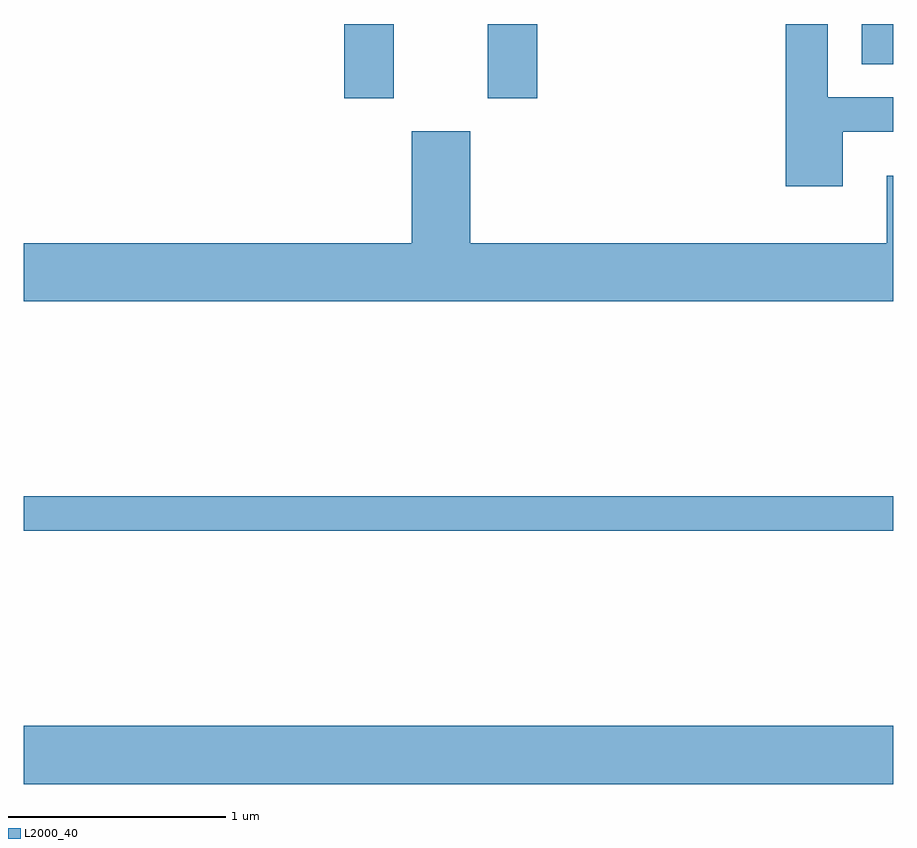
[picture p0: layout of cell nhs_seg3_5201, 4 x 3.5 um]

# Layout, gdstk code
import gdstk
lib = gdstk.Library(unit=1e-6, precision=1e-09)
def R(c, l, rs):  # rectangles x0, y0, x1, y1
    for r in rs: c.add(gdstk.rectangle(r[:2], r[2:], *l))
def P(c, l, *ps):  # polygons
    for p in ps: c.add(gdstk.Polygon(p, *l))
L2000_40 = (2000, 40)

nhs_seg3_5201 = lib.new_cell('nhs_seg3_5201')
R(nhs_seg3_5201, L2000_40, [(337.611,1190.396,341.611,1190.664), (337.611,1191.561,341.611,1191.719), (339.086,1193.551,339.314,1193.892), (339.746,1193.551,339.974,1193.892), (341.466,1193.706,341.611,1193.892)])
P(nhs_seg3_5201, L2000_40, [(341.379,1193.396),(341.611,1193.396),(341.611,1193.554),(341.309,1193.554),(341.309,1193.892),(341.116,1193.892),(341.116,1193.146),(341.379,1193.146)],
  [(341.611,1193.194),(341.581,1193.194),(341.581,1192.884),(339.664,1192.884),(339.664,1193.399),(339.396,1193.399),(339.396,1192.884),(337.611,1192.884),(337.611,1192.616),(341.611,1192.616)])

lib.write_gds('nhs_seg3_5201.gds')
